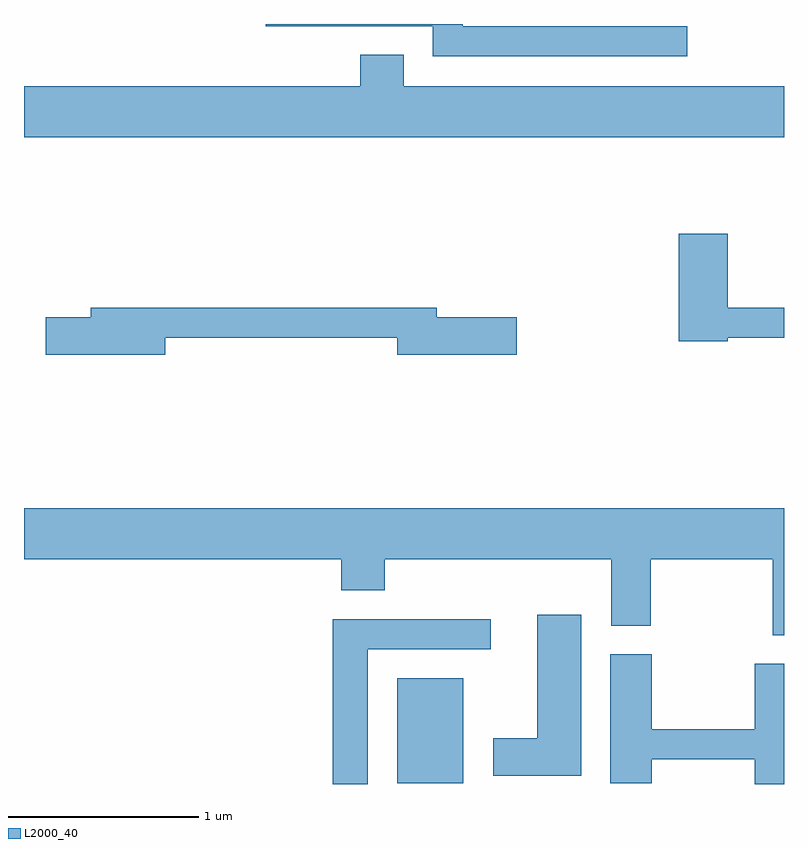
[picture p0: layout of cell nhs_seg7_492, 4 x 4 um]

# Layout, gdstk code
import gdstk
lib = gdstk.Library(unit=1e-6, precision=1e-09)
def R(c, l, rs):  # rectangles x0, y0, x1, y1
    for r in rs: c.add(gdstk.rectangle(r[:2], r[2:], *l))
def P(c, l, *ps):  # polygons
    for p in ps: c.add(gdstk.Polygon(p, *l))
L2000_40 = (2000, 40)

nhs_seg7_492 = lib.new_cell('nhs_seg7_492')
R(nhs_seg7_492, L2000_40, [(201.576,1704.256,201.924,1704.809)])
P(nhs_seg7_492, L2000_40, [(203.103,1708.239),(201.919,1708.239),(201.919,1708.252),(200.883,1708.252),(200.883,1708.241),(201.761,1708.241),(201.761,1708.081),(203.103,1708.081)],
  [(203.611,1707.924),(201.609,1707.924),(201.609,1708.089),(201.381,1708.089),(201.381,1707.924),(199.611,1707.924),(199.611,1707.656),(203.611,1707.656)],
  [(203.314,1706.601),(203.611,1706.601),(203.611,1706.759),(203.314,1706.759),(203.314,1707.149),(203.056,1707.149),(203.056,1706.581),(203.314,1706.581)],
  [(200.354,1706.601),(201.576,1706.601),(201.576,1706.511),(202.204,1706.511),(202.204,1706.709),(201.784,1706.709),(201.784,1706.759),(199.961,1706.759),(199.961,1706.709),(199.726,1706.709),(199.726,1706.511),(200.354,1706.511)],
  [(203.611,1705.704),(199.611,1705.704),(199.611,1705.436),(201.281,1705.436),(201.281,1705.271),(201.509,1705.271),(201.509,1705.436),(202.701,1705.436),(202.701,1705.086),(202.909,1705.086),(202.909,1705.436),(203.551,1705.436),(203.551,1705.036),(203.611,1705.036)],
  [(202.544,1705.144),(202.311,1705.144),(202.311,1704.494),(202.081,1704.494),(202.081,1704.296),(202.544,1704.296)],
  [(201.419,1704.961),(202.068,1704.961),(202.068,1705.119),(201.236,1705.119),(201.236,1704.252),(201.419,1704.252)],
  [(203.611,1704.884),(203.456,1704.884),(203.456,1704.539),(202.914,1704.539),(202.914,1704.934),(202.696,1704.934),(202.696,1704.256),(202.914,1704.256),(202.914,1704.381),(203.456,1704.381),(203.456,1704.252),(203.611,1704.252)])

lib.write_gds('nhs_seg7_492.gds')
